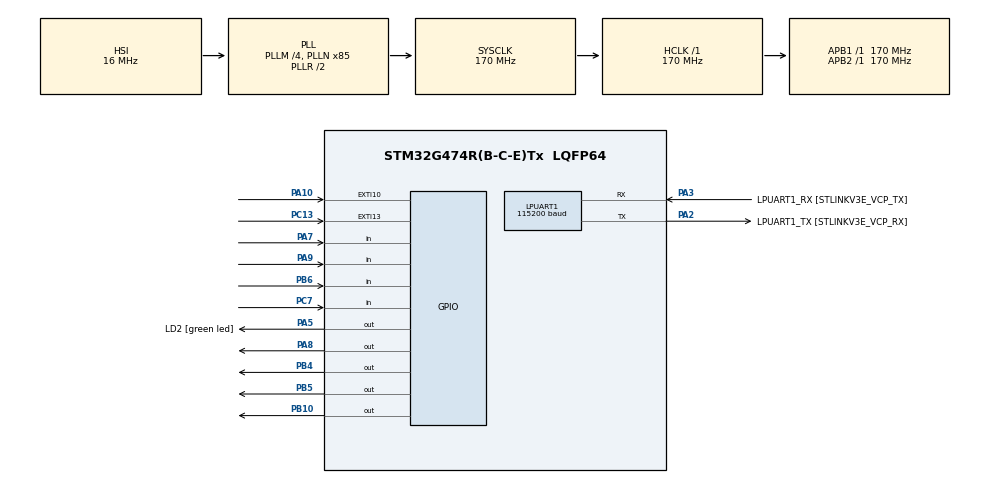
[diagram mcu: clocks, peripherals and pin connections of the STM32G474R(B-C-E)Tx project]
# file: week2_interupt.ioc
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LPUART1.BaudRate=115200
LPUART1.WordLength=UART_WORDLENGTH_8B
Mcu.Family=STM32G4
Mcu.Name=STM32G474R(B-C-E)Tx
Mcu.Package=LQFP64
NVIC.EXTI15_10_IRQn=true\:0\:0\:false\:false\:true\:true\:true\:true
NVIC.PriorityGroup=NVIC_PRIORITYGROUP_4
PA10.Signal=GPXTI10
PA13.GPIO_Label=T_SWDIO
PA13.Mode=Serial_Wire
PA13.Signal=SYS_JTMS-SWDIO
PA14.GPIO_Label=T_SWCLK
PA14.Mode=Serial_Wire
PA14.Signal=SYS_JTCK-SWCLK
PA2.GPIO_Label=LPUART1_TX [STLINKV3E_VCP_RX]
PA2.Mode=Asynchronous
PA2.Signal=LPUART1_TX
PA3.GPIO_Label=LPUART1_RX [STLINKV3E_VCP_TX]
PA3.Mode=Asynchronous
PA3.Signal=LPUART1_RX
PA5.GPIO_Label=LD2 [green led]
PA5.Signal=GPIO_Output
PA7.GPIO_Mode=GPIO_MODE_INPUT
PA7.GPIO_PuPd=GPIO_PULLUP
PA7.Signal=GPIO_Input
PA8.GPIO_ModeDefaultOutputPP=GPIO_MODE_OUTPUT_OD
PA8.GPIO_PuPd=GPIO_NOPULL
PA8.PinState=GPIO_PIN_SET
PA8.Signal=GPIO_Output
PA9.GPIO_Mode=GPIO_MODE_INPUT
PA9.GPIO_PuPd=GPIO_PULLUP
PA9.Signal=GPIO_Input
PB10.GPIO_ModeDefaultOutputPP=GPIO_MODE_OUTPUT_OD
PB10.GPIO_PuPd=GPIO_NOPULL
PB10.PinState=GPIO_PIN_SET
PB10.Signal=GPIO_Output
PB3.GPIO_Label=T_SWO
PB3.Signal=SYS_JTDO-SWO
PB4.GPIO_ModeDefaultOutputPP=GPIO_MODE_OUTPUT_OD
PB4.GPIO_PuPd=GPIO_NOPULL
PB4.PinState=GPIO_PIN_SET
PB4.Signal=GPIO_Output
PB5.GPIO_ModeDefaultOutputPP=GPIO_MODE_OUTPUT_OD
PB5.GPIO_PuPd=GPIO_NOPULL
PB5.PinState=GPIO_PIN_SET
PB5.Signal=GPIO_Output
PB6.GPIO_Mode=GPIO_MODE_INPUT
PB6.GPIO_PuPd=GPIO_PULLUP
PB6.Signal=GPIO_Input
PC13.Signal=GPXTI13
PC14-OSC32_IN.Mode=LSE-External-Oscillator
PC14-OSC32_IN.Signal=RCC_OSC32_IN
PC15-OSC32_OUT.Mode=LSE-External-Oscillator
PC15-OSC32_OUT.Signal=RCC_OSC32_OUT
PC7.GPIO_Mode=GPIO_MODE_INPUT
PC7.GPIO_PuPd=GPIO_PULLUP
PC7.Signal=GPIO_Input
PF0-OSC_IN.Mode=HSE-External-Oscillator
PF0-OSC_IN.Signal=RCC_OSC_IN
PF1-OSC_OUT.Mode=HSE-External-Oscillator
PF1-OSC_OUT.Signal=RCC_OSC_OUT
ProjectManager.HeapSize=0x200
ProjectManager.StackSize=0x400
ProjectManager.TargetToolchain=STM32CubeIDE
RCC.ADC12Freq_Value=170000000
RCC.ADC345Freq_Value=170000000
RCC.AHBFreq_Value=170000000
RCC.APB1Freq_Value=170000000
RCC.APB1TimFreq_Value=170000000
RCC.APB2Freq_Value=170000000
RCC.APB2TimFreq_Value=170000000
RCC.CortexFreq_Value=170000000
RCC.EXTERNAL_CLOCK_VALUE=12288000
RCC.HCLKFreq_Value=170000000
RCC.HSE_VALUE=24000000
RCC.HSI48_VALUE=48000000
RCC.HSI_VALUE=16000000
RCC.PLLM=RCC_PLLM_DIV4
RCC.PLLN=85
RCC.RTCClockSelection=RCC_RTCCLKSOURCE_LSE
RCC.SYSCLKFreq_VALUE=170000000
RCC.SYSCLKSource=RCC_SYSCLKSOURCE_PLLCLK
RCC.USBFreq_Value=170000000
RCC.VCOOutputFreq_Value=340000000
VP_SYS_VS_DBSignals.Mode=DisableDeadBatterySignals
board=NUCLEO-G474RE

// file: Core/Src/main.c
/* USER CODE BEGIN Header */
/**
  ******************************************************************************
  * @file           : main.c
  * @brief          : Main program body
  ******************************************************************************
  * @attention
  *
  * Copyright (c) 2023 STMicroelectronics.
  * All rights reserved.
  *
  * This software is licensed under terms that can be found in the LICENSE file
  * in the root directory of this software component.
  * If no LICENSE file comes with this software, it is provided AS-IS.
  *
  ******************************************************************************
  */
/* USER CODE END Header */
#include "main.h"

UART_HandleTypeDef hlpuart1;

/* USER CODE BEGIN PV */
struct _ButMtx_Struct
{
GPIO_TypeDef* Port;
uint16_t Pin;
};

struct _ButMtx_Struct BMX_L[4] = {
{GPIOA,GPIO_PIN_9},
{GPIOC,GPIO_PIN_7},
{GPIOB,GPIO_PIN_6},
{GPIOA,GPIO_PIN_7}
};

struct _ButMtx_Struct BMX_R[4] = {
{GPIOB,GPIO_PIN_5},
{GPIOB,GPIO_PIN_4},
{GPIOB,GPIO_PIN_10},
{GPIOA,GPIO_PIN_8}
};

uint16_t ButtonState = 0;
int16_t array_map[] = {0,1,16,256,2,32,512,4,64,1024,8};
int16_t real_in[] = {0,7,8,9,4,5,6,1,2,3,0};
int16_t x = 0;
int16_t count = 0;
int32_t before = 0;
int16_t i_str = 0;
char *ans;
/* USER CODE END PV */

void SystemClock_Config(void);
static void MX_GPIO_Init(void);
static void MX_LPUART1_UART_Init(void);
/* USER CODE BEGIN PFP */
void ButtonMatrixRead();
/* USER CODE END PFP */

int main(void)
{

  /* MCU Configuration--------------------------------------------------------*/

  /* Reset of all peripherals, Initializes the Flash interface and the Systick. */
  HAL_Init();

  /* Configure the system clock */
  SystemClock_Config();

  /* Initialize all configured peripherals */
  MX_GPIO_Init();
  MX_LPUART1_UART_Init();

  /* Infinite loop */
  while (1)
  {

    /* USER CODE BEGIN 3 */
	  before = ButtonState;
	  static uint32_t BTMX_TimeStamp = 0;
	  if(HAL_GetTick() > BTMX_TimeStamp)
	  {
	  BTMX_TimeStamp = HAL_GetTick() + 25; //next scan in 25 ms
	  ButtonMatrixRead();
	  }
	  if (ButtonState == 2048)
	  {
		  	if(ans != NULL && strcmp(ans, "65340500054") == 0)
		  	{
		  	HAL_GPIO_TogglePin(GPIOA, GPIO_PIN_5);

		  }
		  free(ans);
		  *ans = '\0';
		  x = 0;
		  while (ButtonState == 0 || ButtonState == 2048)
		  {
			  BTMX_TimeStamp = HAL_GetTick() + 25; //next scan in 25 ms
			  ButtonMatrixRead();
			  continue;
		  }
	  }
	  else {
		  for (int i = 0;i <= 10;i++)
		  	  {
		  		  if (ButtonState == 0 || ButtonState == 4096 || ButtonState == 8192 || ButtonState == 16384 || ButtonState == 32768)
		  		  {
		  			  continue;
		  		  }
		  		  if (ButtonState == array_map[i])
		  		  {

		  			  x = real_in[i];

		  		  }
		  		  else
		  		  {
		  			  continue;
		  		  }

		  	  }
		  	  if (before != 0 && ButtonState == 0 && before != 4096 && before != 8192 && before != 32768 && before != 16384)
		  	  {
		  		  if (ans == NULL)
		  		    {
		  		        ans = (char*)malloc(2);
		  		        ans[0] = x + '0';
		  		        ans[1] = '\0';
		  		    }
		  		    else
		  		    {
		  		        int currentSize = strlen(ans);
		  		        ans = (char*)realloc(ans, currentSize + 2);
		  		        ans[currentSize] = x + '0';
		  		        ans[currentSize + 1] = '\0';
		  		    }
		  		    count++;

		  	  }
	  }

//	  }
  }
  /* USER CODE END 3 */
}

void SystemClock_Config(void)
{
  RCC_OscInitTypeDef RCC_OscInitStruct = {0};
  RCC_ClkInitTypeDef RCC_ClkInitStruct = {0};

  /** Configure the main internal regulator output voltage
  */
  HAL_PWREx_ControlVoltageScaling(PWR_REGULATOR_VOLTAGE_SCALE1_BOOST);

  /** Initializes the RCC Oscillators according to the specified parameters
  * in the RCC_OscInitTypeDef structure.
  */
  RCC_OscInitStruct.OscillatorType = RCC_OSCILLATORTYPE_HSI;
  RCC_OscInitStruct.HSIState = RCC_HSI_ON;
  RCC_OscInitStruct.HSICalibrationValue = RCC_HSICALIBRATION_DEFAULT;
  RCC_OscInitStruct.PLL.PLLState = RCC_PLL_ON;
  RCC_OscInitStruct.PLL.PLLSource = RCC_PLLSOURCE_HSI;
  RCC_OscInitStruct.PLL.PLLM = RCC_PLLM_DIV4;
  RCC_OscInitStruct.PLL.PLLN = 85;
  RCC_OscInitStruct.PLL.PLLP = RCC_PLLP_DIV2;
  RCC_OscInitStruct.PLL.PLLQ = RCC_PLLQ_DIV2;
  RCC_OscInitStruct.PLL.PLLR = RCC_PLLR_DIV2;
  if (HAL_RCC_OscConfig(&RCC_OscInitStruct) != HAL_OK)
  {
    Error_Handler();
  }

  /** Initializes the CPU, AHB and APB buses clocks
  */
  RCC_ClkInitStruct.ClockType = RCC_CLOCKTYPE_HCLK|RCC_CLOCKTYPE_SYSCLK
                              |RCC_CLOCKTYPE_PCLK1|RCC_CLOCKTYPE_PCLK2;
  RCC_ClkInitStruct.SYSCLKSource = RCC_SYSCLKSOURCE_PLLCLK;
  RCC_ClkInitStruct.AHBCLKDivider = RCC_SYSCLK_DIV1;
  RCC_ClkInitStruct.APB1CLKDivider = RCC_HCLK_DIV1;
  RCC_ClkInitStruct.APB2CLKDivider = RCC_HCLK_DIV1;

  if (HAL_RCC_ClockConfig(&RCC_ClkInitStruct, FLASH_LATENCY_4) != HAL_OK)
  {
    Error_Handler();
  }
}

static void MX_LPUART1_UART_Init(void)
{

  hlpuart1.Instance = LPUART1;
  hlpuart1.Init.BaudRate = 115200;
  hlpuart1.Init.WordLength = UART_WORDLENGTH_8B;
  hlpuart1.Init.StopBits = UART_STOPBITS_1;
  hlpuart1.Init.Parity = UART_PARITY_NONE;
  hlpuart1.Init.Mode = UART_MODE_TX_RX;
  hlpuart1.Init.HwFlowCtl = UART_HWCONTROL_NONE;
  hlpuart1.Init.OneBitSampling = UART_ONE_BIT_SAMPLE_DISABLE;
  hlpuart1.Init.ClockPrescaler = UART_PRESCALER_DIV1;
  hlpuart1.AdvancedInit.AdvFeatureInit = UART_ADVFEATURE_NO_INIT;
  if (HAL_UART_Init(&hlpuart1) != HAL_OK)
  {
    Error_Handler();
  }
  if (HAL_UARTEx_SetTxFifoThreshold(&hlpuart1, UART_TXFIFO_THRESHOLD_1_8) != HAL_OK)
  {
    Error_Handler();
  }
  if (HAL_UARTEx_SetRxFifoThreshold(&hlpuart1, UART_RXFIFO_THRESHOLD_1_8) != HAL_OK)
  {
    Error_Handler();
  }
  if (HAL_UARTEx_DisableFifoMode(&hlpuart1) != HAL_OK)
  {
    Error_Handler();
  }

}

static void MX_GPIO_Init(void)
{
  GPIO_InitTypeDef GPIO_InitStruct = {0};

  /* GPIO Ports Clock Enable */
  __HAL_RCC_GPIOC_CLK_ENABLE();
  __HAL_RCC_GPIOF_CLK_ENABLE();
  __HAL_RCC_GPIOA_CLK_ENABLE();
  __HAL_RCC_GPIOB_CLK_ENABLE();

  /*Configure GPIO pin Output Level */
  HAL_GPIO_WritePin(LD2_GPIO_Port, LD2_Pin, GPIO_PIN_RESET);

  /*Configure GPIO pin Output Level */
  HAL_GPIO_WritePin(GPIOB, GPIO_PIN_10|GPIO_PIN_4|GPIO_PIN_5, GPIO_PIN_SET);

  /*Configure GPIO pin Output Level */
  HAL_GPIO_WritePin(GPIOA, GPIO_PIN_8, GPIO_PIN_SET);

  /*Configure GPIO pin : PC13 */
  GPIO_InitStruct.Pin = GPIO_PIN_13;
  GPIO_InitStruct.Mode = GPIO_MODE_IT_RISING;
  GPIO_InitStruct.Pull = GPIO_NOPULL;
  HAL_GPIO_Init(GPIOC, &GPIO_InitStruct);

  /*Configure GPIO pin : LD2_Pin */
  GPIO_InitStruct.Pin = LD2_Pin;
  GPIO_InitStruct.Mode = GPIO_MODE_OUTPUT_PP;
  GPIO_InitStruct.Pull = GPIO_NOPULL;
  GPIO_InitStruct.Speed = GPIO_SPEED_FREQ_LOW;
  HAL_GPIO_Init(LD2_GPIO_Port, &GPIO_InitStruct);

  /*Configure GPIO pins : PA7 PA9 */
  GPIO_InitStruct.Pin = GPIO_PIN_7|GPIO_PIN_9;
  GPIO_InitStruct.Mode = GPIO_MODE_INPUT;
  GPIO_InitStruct.Pull = GPIO_PULLUP;
  HAL_GPIO_Init(GPIOA, &GPIO_InitStruct);

  /*Configure GPIO pins : PB10 PB4 PB5 */
  GPIO_InitStruct.Pin = GPIO_PIN_10|GPIO_PIN_4|GPIO_PIN_5;
  GPIO_InitStruct.Mode = GPIO_MODE_OUTPUT_OD;
  GPIO_InitStruct.Pull = GPIO_NOPULL;
  GPIO_InitStruct.Speed = GPIO_SPEED_FREQ_LOW;
  HAL_GPIO_Init(GPIOB, &GPIO_InitStruct);

  /*Configure GPIO pin : PC7 */
  GPIO_InitStruct.Pin = GPIO_PIN_7;
  GPIO_InitStruct.Mode = GPIO_MODE_INPUT;
  GPIO_InitStruct.Pull = GPIO_PULLUP;
  HAL_GPIO_Init(GPIOC, &GPIO_InitStruct);

  /*Configure GPIO pin : PA8 */
  GPIO_InitStruct.Pin = GPIO_PIN_8;
  GPIO_InitStruct.Mode = GPIO_MODE_OUTPUT_OD;
  GPIO_InitStruct.Pull = GPIO_NOPULL;
  GPIO_InitStruct.Speed = GPIO_SPEED_FREQ_LOW;
  HAL_GPIO_Init(GPIOA, &GPIO_InitStruct);

  /*Configure GPIO pin : PA10 */
  GPIO_InitStruct.Pin = GPIO_PIN_10;
  GPIO_InitStruct.Mode = GPIO_MODE_IT_RISING;
  GPIO_InitStruct.Pull = GPIO_NOPULL;
  HAL_GPIO_Init(GPIOA, &GPIO_InitStruct);

  /*Configure GPIO pin : PB6 */
  GPIO_InitStruct.Pin = GPIO_PIN_6;
  GPIO_InitStruct.Mode = GPIO_MODE_INPUT;
  GPIO_InitStruct.Pull = GPIO_PULLUP;
  HAL_GPIO_Init(GPIOB, &GPIO_InitStruct);

  /* EXTI interrupt init*/
  HAL_NVIC_SetPriority(EXTI15_10_IRQn, 0, 0);
  HAL_NVIC_EnableIRQ(EXTI15_10_IRQn);

}

/* USER CODE BEGIN 4 */
void HAL_GPIO_EXTI_Callback(uint16_t GPIO_Pin)
{
//	if(GPIO_Pin == GPIO_PIN_13 && ans != NULL && strcmp(ans, "65") == 0)
//	{
//	HAL_GPIO_TogglePin(GPIOA, GPIO_PIN_5);
//
//}
	if(GPIO_Pin == GPIO_PIN_10)
	{
		HAL_GPIO_WritePin(GPIOA, GPIO_PIN_5, 0);
		free(ans);
		*ans = '\0';
		x = 0;
		count = 0;
	}

}
void ButtonMatrixRead(){
static uint8_t X=0;
for(int i=0; i<4; i++)
{
if(HAL_GPIO_ReadPin(BMX_L[i].Port, BMX_L[i].Pin) == GPIO_PIN_RESET)
{ //ปุ่มถู�?�?ด
ButtonState |= 1 << (i + (X * 4));
}
else
{
ButtonState &= ~(1 << (i + (X * 4)));
}
}
//set currentL to Hi-z (open drain)
HAL_GPIO_WritePin(BMX_R[X].Port, BMX_R[X].Pin, GPIO_PIN_SET);
//set nextL to low
uint8_t nextX = (X + 1) % 4;
HAL_GPIO_WritePin(BMX_R[nextX].Port, BMX_R[nextX].Pin, GPIO_PIN_RESET);
X = nextX;
}
/* USER CODE END 4 */

void Error_Handler(void)
{
  __disable_irq();
  while (1)
  {
  }
}
